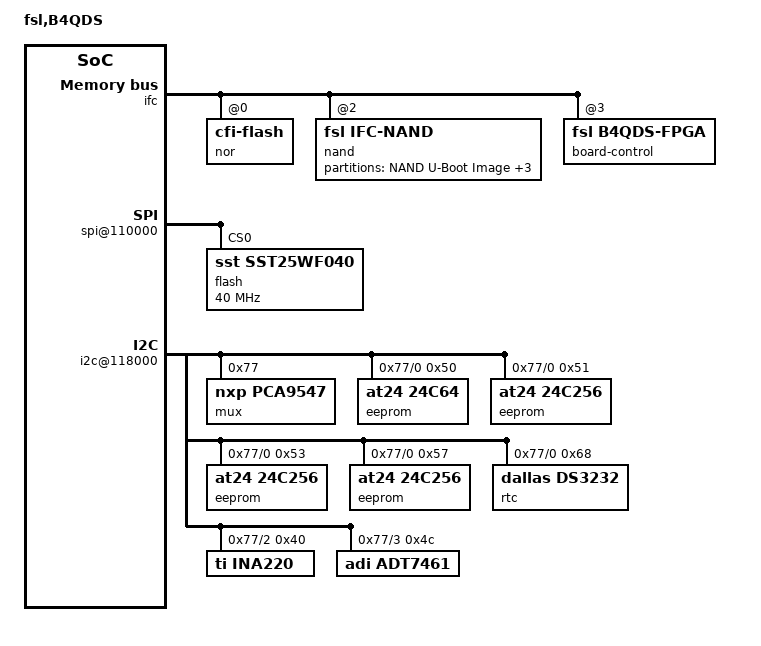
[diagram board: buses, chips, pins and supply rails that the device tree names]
/*
 * B4420DS Device Tree Source
 *
 * Copyright 2012 Freescale Semiconductor, Inc.
 *
 * Redistribution and use in source and binary forms, with or without
 * modification, are permitted provided that the following conditions are met:
 *     * Redistributions of source code must retain the above copyright
 *       notice, this list of conditions and the following disclaimer.
 *     * Redistributions in binary form must reproduce the above copyright
 *       notice, this list of conditions and the following disclaimer in the
 *       documentation and/or other materials provided with the distribution.
 *     * Neither the name of Freescale Semiconductor nor the
 *       names of its contributors may be used to endorse or promote products
 *       derived from this software without specific prior written permission.
 *
 *
 * ALTERNATIVELY, this software may be distributed under the terms of the
 * GNU General Public License ("GPL") as published by the Free Software
 * Foundation, either version 2 of that License or (at your option) any
 * later version.
 *
 * This software is provided by Freescale Semiconductor "as is" and any
 * express or implied warranties, including, but not limited to, the implied
 * warranties of merchantability and fitness for a particular purpose are
 * disclaimed. In no event shall Freescale Semiconductor be liable for any
 * direct, indirect, incidental, special, exemplary, or consequential damages
 * (including, but not limited to, procurement of substitute goods or services;
 * loss of use, data, or profits; or business interruption) however caused and
 * on any theory of liability, whether in contract, strict liability, or tort
 * (including negligence or otherwise) arising in any way out of the use of
 * this software, even if advised of the possibility of such damage.
 */

/ {
	model = "fsl,B4QDS";
	compatible = "fsl,B4QDS";
	#address-cells = <2>;
	#size-cells = <2>;
	interrupt-parent = <&mpic>;

	ifc: localbus@ffe124000 {
		reg = <0xf 0xfe124000 0 0x2000>;
		ranges = <0 0 0xf 0xe8000000 0x08000000
			  2 0 0xf 0xff800000 0x00010000
			  3 0 0xf 0xffdf0000 0x00008000>;

		nor@0,0 {
			#address-cells = <1>;
			#size-cells = <1>;
			compatible = "cfi-flash";
			reg = <0x0 0x0 0x8000000>;
			bank-width = <2>;
			device-width = <1>;
		};

		nand@2,0 {
			#address-cells = <1>;
			#size-cells = <1>;
			compatible = "fsl,ifc-nand";
			reg = <0x2 0x0 0x10000>;

			partition@0 {
				/* This location must not be altered  */
				/* 1MB for u-boot Bootloader Image */
				reg = <0x0 0x00100000>;
				label = "NAND U-Boot Image";
				read-only;
			};

			partition@100000 {
				/* 1MB for DTB Image */
				reg = <0x00100000 0x00100000>;
				label = "NAND DTB Image";
			};

			partition@200000 {
				/* 10MB for Linux Kernel Image */
				reg = <0x00200000 0x00A00000>;
				label = "NAND Linux Kernel Image";
			};

			partition@c00000 {
				/* 500MB for Root file System Image */
				reg = <0x00c00000 0x1F400000>;
				label = "NAND RFS Image";
			};
		};

		board-control@3,0 {
			compatible = "fsl,b4qds-fpga", "fsl,fpga-qixis";
			reg = <3 0 0x300>;
		};
	};

	memory {
		device_type = "memory";
	};

	dcsr: dcsr@f00000000 {
		ranges = <0x00000000 0xf 0x00000000 0x01052000>;
	};

	soc: soc@ffe000000 {
		ranges = <0x00000000 0xf 0xfe000000 0x1000000>;
		reg = <0xf 0xfe000000 0 0x00001000>;
		spi@110000 {
			flash@0 {
				#address-cells = <1>;
				#size-cells = <1>;
				compatible = "sst,sst25wf040";
				reg = <0>;
				spi-max-frequency = <40000000>; /* input clock */
			};
		};

		sdhc@114000 {
			/*Disabled as there is no sdhc connector on B4420QDS board*/
			status = "disabled";
		};

		i2c@118000 {
			mux@77 {
				compatible = "nxp,pca9547";
				reg = <0x77>;
				#address-cells = <1>;
				#size-cells = <0>;

				i2c@0 {
					#address-cells = <1>;
					#size-cells = <0>;
					reg = <0>;

					eeprom@50 {
						compatible = "at24,24c64";
						reg = <0x50>;
					};
					eeprom@51 {
						compatible = "at24,24c256";
						reg = <0x51>;
					};
					eeprom@53 {
						compatible = "at24,24c256";
						reg = <0x53>;
					};
					eeprom@57 {
						compatible = "at24,24c256";
						reg = <0x57>;
					};
					rtc@68 {
						compatible = "dallas,ds3232";
						reg = <0x68>;
					};
				};

				i2c@2 {
					#address-cells = <1>;
					#size-cells = <0>;
					reg = <0x2>;

					ina220@40 {
						compatible = "ti,ina220";
						reg = <0x40>;
						shunt-resistor = <1000>;
					};
				};

				i2c@3 {
					#address-cells = <1>;
					#size-cells = <0>;
					reg = <0x3>;

					adt7461@4c {
						compatible = "adi,adt7461";
						reg = <0x4c>;
					};
				};
			};
		};

		usb@210000 {
			dr_mode = "host";
			phy_type = "ulpi";
		};

	};

	pci0: pcie@ffe200000 {
		reg = <0xf 0xfe200000 0 0x10000>;
		ranges = <0x02000000 0 0xe0000000 0xc 0x00000000 0x0 0x20000000
			  0x01000000 0 0x00000000 0xf 0xf8000000 0x0 0x00010000>;
		pcie@0 {
			ranges = <0x02000000 0 0xe0000000
				  0x02000000 0 0xe0000000
				  0 0x20000000

				  0x01000000 0 0x00000000
				  0x01000000 0 0x00000000
				  0 0x00010000>;
		};
	};

};

/include/ "fsl/b4si-post.dtsi"
